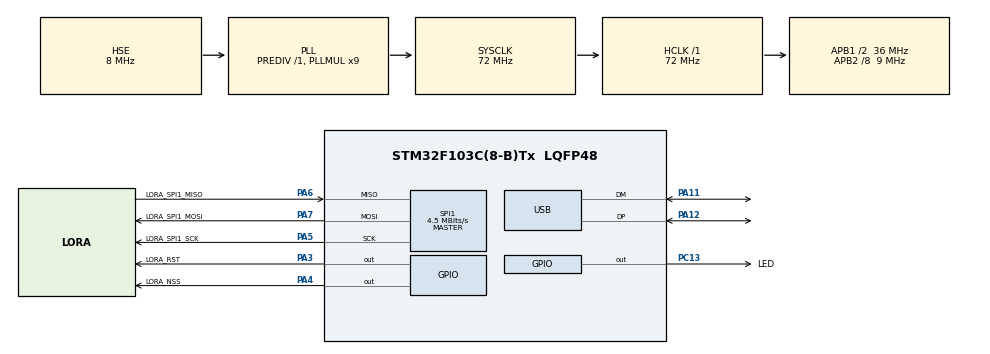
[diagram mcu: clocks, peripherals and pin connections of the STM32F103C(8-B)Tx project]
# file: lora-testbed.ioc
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Mcu.Family=STM32F1
Mcu.Name=STM32F103C(8-B)Tx
Mcu.Package=LQFP48
NVIC.PriorityGroup=NVIC_PRIORITYGROUP_4
NVIC.USB_LP_CAN1_RX0_IRQn=true\:0\:0\:false\:false\:true\:false\:true\:true
PA11.Mode=Device
PA11.Signal=USB_DM
PA12.Mode=Device
PA12.Signal=USB_DP
PA13.Mode=Serial_Wire
PA13.Signal=SYS_JTMS-SWDIO
PA14.Mode=Serial_Wire
PA14.Signal=SYS_JTCK-SWCLK
PA3.GPIO_Label=LORA_RST
PA3.Signal=GPIO_Output
PA4.GPIO_Label=LORA_NSS
PA4.Signal=GPIO_Output
PA5.GPIO_Label=LORA_SPI1_SCK
PA5.Mode=Full_Duplex_Master
PA5.Signal=SPI1_SCK
PA6.GPIO_Label=LORA_SPI1_MISO
PA6.Mode=Full_Duplex_Master
PA6.Signal=SPI1_MISO
PA7.GPIO_Label=LORA_SPI1_MOSI
PA7.Mode=Full_Duplex_Master
PA7.Signal=SPI1_MOSI
PC13-TAMPER-RTC.GPIO_Label=LED
PC13-TAMPER-RTC.Signal=GPIO_Output
PD0-OSC_IN.Mode=HSE-External-Oscillator
PD0-OSC_IN.Signal=RCC_OSC_IN
PD1-OSC_OUT.Mode=HSE-External-Oscillator
PD1-OSC_OUT.Signal=RCC_OSC_OUT
ProjectManager.HeapSize=0x200
ProjectManager.StackSize=0x400
ProjectManager.TargetToolchain=Makefile
RCC.AHBFreq_Value=72000000
RCC.APB1CLKDivider=RCC_HCLK_DIV2
RCC.APB1Freq_Value=36000000
RCC.APB1TimFreq_Value=72000000
RCC.APB2CLKDivider=RCC_HCLK_DIV8
RCC.APB2Freq_Value=9000000
RCC.APB2TimFreq_Value=18000000
RCC.HCLKFreq_Value=72000000
RCC.PLLMUL=RCC_PLL_MUL9
RCC.SYSCLKFreq_VALUE=72000000
RCC.SYSCLKSource=RCC_SYSCLKSOURCE_PLLCLK
RCC.USBFreq_Value=48000000
RCC.USBPrescaler=RCC_USBCLKSOURCE_PLL_DIV1_5
SPI1.BaudRatePrescaler=SPI_BAUDRATEPRESCALER_2
SPI1.CalculateBaudRate=4.5 MBits/s
SPI1.Direction=SPI_DIRECTION_2LINES
SPI1.Mode=SPI_MODE_MASTER
SPI1.VirtualType=VM_MASTER
USB_DEVICE.CLASS_NAME_FS=CDC
USB_DEVICE.VirtualMode=Cdc
USB_DEVICE.VirtualModeFS=Cdc_FS
VP_USB_DEVICE_VS_USB_DEVICE_CDC_FS.Mode=CDC_FS
board=custom

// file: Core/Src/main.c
/* USER CODE BEGIN Header */
/**
  ******************************************************************************
  * @file           : main.c
  * @brief          : Main program body
  ******************************************************************************
  * @attention
  *
  * Copyright (c) 2025 STMicroelectronics.
  * All rights reserved.
  *
  * This software is licensed under terms that can be found in the LICENSE file
  * in the root directory of this software component.
  * If no LICENSE file comes with this software, it is provided AS-IS.
  *
  ******************************************************************************
  */
/* USER CODE END Header */
#include "main.h"
#include "usb_device.h"
#include <stdlib.h>
#include <string.h>

/* USER CODE BEGIN Includes */
#include "usbd_cdc_if.h"
#include "usbd_core.h"
#include "lora.h"
#include "telemetry.h"
#include "error_sdr.h"
#include "usb.h"
#include "usb_cdc_app.h"
/* USER CODE END Includes */

SPI_HandleTypeDef hspi1;

/* USER CODE BEGIN PV */
/* USB data buffer */
uint8_t usb_tx_byte[ USB_BUF_SIZE ];
uint8_t usb_rx_byte[ USB_BUF_SIZE ];

/* LoRa global receive buffer */
LORA_STATUS lora_status;
TELEMETRY_MESSAGE last_lora_message;
bool start_lora = false;
uint32_t sequence_number = 0;

/* LoRa config settings */
LORA_PRESET lora_preset;

/* USER CODE END PV */

void SystemClock_Config(void);
static void MX_GPIO_Init(void);
static void MX_SPI1_Init(void);

/* USER CODE BEGIN 0 */

typedef enum
{
    USB_RX_MODE_IDLE = 0,
    USB_RX_MODE_BLOCKING,
    USB_RX_MODE_INTERRUPT
} usb_rx_mode_t;

static volatile usb_rx_mode_t s_rx_mode = USB_RX_MODE_IDLE;
static uint8_t *s_rx_buf = NULL;
static volatile size_t s_rx_have = 0U;
static size_t s_rx_goal = 0U;
static uint8_t s_rx_stash[CDC_DATA_FS_MAX_PACKET_SIZE];
static volatile size_t s_rx_stash_len = 0U;

static void *s_tx_it_data = NULL;
static size_t s_tx_it_len = 0U;
static volatile bool s_usb_recover_requested = false;
static uint32_t s_usb_last_recover_tick = 0U;
static uint8_t s_usb_tx_fail_count = 0U;

#define USB_RECOVER_COOLDOWN_MS   (250U)
#define USB_TX_FAILS_BEFORE_RESET (3U)

extern USBD_HandleTypeDef hUsbDeviceFS;

static void usb_request_recovery( void )
{
    s_usb_recover_requested = true;
}

static void usb_service_recovery( void )
{
    if ( s_usb_recover_requested == false )
        {
        return;
        }

    uint32_t now = HAL_GetTick();
    if ( ( now - s_usb_last_recover_tick ) < USB_RECOVER_COOLDOWN_MS )
        {
        return;
        }

    s_usb_recover_requested = false;
    s_usb_last_recover_tick = now;
    s_usb_tx_fail_count = 0U;

    (void)USBD_Stop( &hUsbDeviceFS );
    (void)USBD_DeInit( &hUsbDeviceFS );
    MX_USB_DEVICE_Init();

    __disable_irq();
    s_rx_mode = USB_RX_MODE_IDLE;
    s_rx_buf = NULL;
    s_rx_have = 0U;
    s_rx_goal = 0U;
    s_rx_stash_len = 0U;
    __enable_irq();

    (void)usb_receive_IT( usb_rx_byte, 1 );
}

__attribute__( ( weak ) ) void usb_receive_complete_callback( void *data, size_t len )
{
    (void)data;
    (void)len;

    terminal_loop();
}

__attribute__( ( weak ) ) void usb_transmit_complete_callback( void *data, size_t len )
{
    (void)data;
    (void)len;

    usb_receive_IT( usb_rx_byte, 1 );
}

static void usb_rx_drain_stash_locked( void )
{
    while ( s_rx_stash_len > 0U && s_rx_mode != USB_RX_MODE_IDLE && s_rx_buf != NULL && s_rx_have < s_rx_goal )
        {
        size_t need = s_rx_goal - s_rx_have;
        size_t take = ( s_rx_stash_len < need ) ? s_rx_stash_len : need;
        memcpy( s_rx_buf + s_rx_have, s_rx_stash, take );
        s_rx_have += take;
        size_t rem = s_rx_stash_len - take;
        if ( rem > 0U )
            {
            memmove( s_rx_stash, s_rx_stash + take, rem );
            }
        s_rx_stash_len = rem;
        }
}

void usb_process_cdc_rx( uint8_t *buf, uint32_t len )
{
    if ( len == 0U )
        {
        return;
        }

    if ( s_rx_mode == USB_RX_MODE_IDLE )
        {
        if ( s_rx_stash_len + len > sizeof( s_rx_stash ) )
            {
            return;
            }
        memcpy( s_rx_stash + s_rx_stash_len, buf, len );
        s_rx_stash_len += len;
        return;
        }

    uint32_t pos = 0U;
    while ( pos < len && s_rx_have < s_rx_goal )
        {
        size_t need = s_rx_goal - s_rx_have;
        uint32_t avail = len - pos;
        size_t chunk = ( avail < need ) ? (size_t)avail : need;
        memcpy( s_rx_buf + s_rx_have, buf + pos, chunk );
        s_rx_have += chunk;
        pos += chunk;
        }

    if ( pos < len )
        {
        uint32_t left = len - pos;
        if ( s_rx_stash_len + left > sizeof( s_rx_stash ) )
            {
            return;
            }
        memcpy( s_rx_stash + s_rx_stash_len, buf + pos, left );
        s_rx_stash_len += left;
        }

    if ( s_rx_have >= s_rx_goal && s_rx_mode == USB_RX_MODE_INTERRUPT )
        {
        s_rx_mode = USB_RX_MODE_IDLE;
        void *cbdata = s_rx_buf;
        size_t cblen = s_rx_goal;
        s_rx_buf = NULL;
        usb_receive_complete_callback( cbdata, cblen );
        }
}

void USBD_App_CDC_TxComplete( void )
{
    usb_transmit_complete_callback( s_tx_it_data, s_tx_it_len );
}

USB_STATUS usb_receive_IT( void *data, size_t len )
{
    if ( data == NULL || len == 0U )
        {
        return USB_FAIL;
        }

    __disable_irq();
    if ( s_rx_mode != USB_RX_MODE_IDLE )
        {
        __enable_irq();
        return USB_FAIL;
        }

    s_rx_buf = (uint8_t *)data;
    s_rx_goal = len;
    s_rx_have = 0U;
    s_rx_mode = USB_RX_MODE_INTERRUPT;
    usb_rx_drain_stash_locked();

    if ( s_rx_have >= s_rx_goal )
        {
        s_rx_mode = USB_RX_MODE_IDLE;
        void *p = s_rx_buf;
        size_t n = s_rx_goal;
        s_rx_buf = NULL;
        __enable_irq();
        usb_receive_complete_callback( p, n );
        return USB_OK;
        }

    __enable_irq();
    return USB_OK;
}

USB_STATUS usb_receive( void *data, size_t len, uint32_t timeout )
{
    if ( data == NULL || len == 0U )
        {
        return USB_FAIL;
        }

    __disable_irq();
    if ( s_rx_mode != USB_RX_MODE_IDLE )
        {
        __enable_irq();
        return USB_FAIL;
        }

    s_rx_buf = (uint8_t *)data;
    s_rx_goal = len;
    s_rx_have = 0U;
    s_rx_mode = USB_RX_MODE_BLOCKING;
    usb_rx_drain_stash_locked();
    __enable_irq();

    if ( s_rx_have >= s_rx_goal )
        {
        __disable_irq();
        s_rx_mode = USB_RX_MODE_IDLE;
        s_rx_buf = NULL;
        __enable_irq();
        return USB_OK;
        }

    uint32_t tickstart = HAL_GetTick();
    while ( s_rx_have < s_rx_goal )
        {
        if ( timeout != HAL_MAX_DELAY && ( HAL_GetTick() - tickstart ) >= timeout )
            {
            __disable_irq();
            s_rx_mode = USB_RX_MODE_IDLE;
            s_rx_buf = NULL;
            __enable_irq();
            return USB_TIMEOUT;
            }
        }

    __disable_irq();
    s_rx_mode = USB_RX_MODE_IDLE;
    s_rx_buf = NULL;
    __enable_irq();
    return USB_OK;
}

USB_STATUS usb_transmit( void *data, size_t len, uint32_t timeout )
{
    uint32_t timeout_start = HAL_GetTick();
    uint8_t tx_status = CDC_Transmit_FS( (uint8_t *)data, (uint16_t)len );
    while ( tx_status == USBD_BUSY && ( HAL_GetTick() - timeout_start ) < timeout )
        {
        tx_status = CDC_Transmit_FS( (uint8_t *)data, (uint16_t)len );
        }

    if ( tx_status == USBD_OK )
        {
        s_usb_tx_fail_count = 0U;
        return USB_OK;
        }

    if ( ++s_usb_tx_fail_count >= USB_TX_FAILS_BEFORE_RESET )
        {
        usb_request_recovery();
        }
    return ( tx_status == USBD_BUSY ) ? USB_TIMEOUT : USB_FAIL;
}

USB_STATUS usb_transmit_IT( void *data, size_t len )
{
    uint8_t st = CDC_Transmit_FS( (uint8_t *)data, (uint16_t)len );
    if ( st == USBD_BUSY )
        {
        if ( ++s_usb_tx_fail_count >= USB_TX_FAILS_BEFORE_RESET )
            {
            usb_request_recovery();
            }
        return USB_FAIL;
        }
    if ( st != USBD_OK )
        {
        if ( ++s_usb_tx_fail_count >= USB_TX_FAILS_BEFORE_RESET )
            {
            usb_request_recovery();
            }
        return USB_FAIL;
        }
    s_usb_tx_fail_count = 0U;
    s_tx_it_data = data;
    s_tx_it_len = len;
    return USB_OK;
}

/* USER CODE END 0 */

int main(void)
{

  /* MCU Configuration--------------------------------------------------------*/

  /* Reset of all peripherals, Initializes the Flash interface and the Systick. */
  HAL_Init();

  /* Configure the system clock */
  SystemClock_Config();

  /* Initialize all configured peripherals */
  MX_GPIO_Init();
  MX_SPI1_Init();
  MX_USB_DEVICE_Init();
  /* USER CODE BEGIN 2 */

  // NOTE: INITIALIZE DRIVERS SETUPS HERE
  LORA_PRESET preset = {
    LORA_SPREAD_8, /* SF 6 - 12 supported. Validate the range. */
    LORA_BANDWIDTH_250_KHZ, /* enum -- spec defined in LORA_BANDWIDTH. Packed to one byte. */
    6, /* error coding options are 4:5, 4:6, 4:7, and 4:8 */
    0, /* true: +20 dBm boost */
    915000 /* frequency in kHz */
    /* omitted: chipmode, header mode (defined by fw) */
    };
  LORA_STATUS lora_init_status = lora_configure(&preset); /* use a nullptr so we use dflt cfgs */

if( lora_init_status == LORA_USING_DEFAULTS )
    {
    /* give an indicator of default configs*/
    for( int i = 0; i < 4; i++ )
        {
        HAL_GPIO_WritePin(LED_GPIO_Port, LED_Pin, 1);
        HAL_Delay(200);
        HAL_GPIO_WritePin(LED_GPIO_Port, LED_Pin, 0);
        HAL_Delay(200);
        }
    }
else if( lora_init_status != LORA_OK )
    {
    error_fail_fast( ERROR_LORA_INIT_ERROR );
    }

/* Initialize LoRa buffer */
memset(&last_lora_message, 0, TELEMETRY_MESSAGE_SIZE);

/* start terminal loop */
usb_receive_IT( usb_rx_byte, 1 );

/* Terminal Mode */
HAL_GPIO_WritePin(LED_GPIO_Port, LED_Pin, 1);

static const TELEMETRY_MESSAGE dashboard_dump_msg =
    {
    .header =
        {
        .mid       = TELEMETRY_MSG_DASHBOARD_DATA,
        .timestamp = 0x00000000UL
        },
    .payload.dashboard_dump =
        {
        .fsm_state = 0x00,
        .data =
            {
            .attitude =
                {
                .w = 0.0f,
                .x = 0.0f,
                .y = 0.0f,
                .z = 1.0f
                },
            .alt = 0.0f,
            .latitude = 0.0f,
            .longitude = 0.0f,
            .acc_x = 0.0f,
            .roll_rate = 0.0f
            },
        .explicit_padding = { 0x00, 0x00, 0x00 }
        }
    };

  /* USER CODE END 2 */

  /* Infinite loop */
  /* USER CODE BEGIN WHILE */
  /*------------------------------------------------------------------------------
  Event Loop
  ------------------------------------------------------------------------------*/
  lora_status = lora_set_chip_mode( LORA_RX_CONTINUOUS_MODE );
  while (1)
    {
      /* USER CODE END WHILE */
      /* USER CODE BEGIN 3 */
      usb_service_recovery();

      if( lora_receive_ready() == LORA_READY )
        {
        HAL_GPIO_WritePin(LED_GPIO_Port, LED_Pin, 0);
        uint8_t rx_buf[TELEMETRY_MESSAGE_SIZE];
        uint8_t rx_size = 0;
	    lora_status = lora_receive(rx_buf, TELEMETRY_MESSAGE_SIZE, &rx_size);

        if( lora_status == LORA_OK && rx_size == TELEMETRY_MESSAGE_SIZE )
            {
            memcpy( &last_lora_message, rx_buf, TELEMETRY_MESSAGE_SIZE );
            }
        sequence_number++;
        HAL_GPIO_WritePin(LED_GPIO_Port, LED_Pin, 1);
        }
    }
  /* USER CODE END 3 */
}

void SystemClock_Config(void)
{
  RCC_OscInitTypeDef RCC_OscInitStruct = {0};
  RCC_ClkInitTypeDef RCC_ClkInitStruct = {0};
  RCC_PeriphCLKInitTypeDef PeriphClkInit = {0};

  /** Initializes the RCC Oscillators according to the specified parameters
  * in the RCC_OscInitTypeDef structure.
  */
  RCC_OscInitStruct.OscillatorType = RCC_OSCILLATORTYPE_HSE;
  RCC_OscInitStruct.HSEState = RCC_HSE_ON;
  RCC_OscInitStruct.HSEPredivValue = RCC_HSE_PREDIV_DIV1;
  RCC_OscInitStruct.HSIState = RCC_HSI_ON;
  RCC_OscInitStruct.PLL.PLLState = RCC_PLL_ON;
  RCC_OscInitStruct.PLL.PLLSource = RCC_PLLSOURCE_HSE;
  RCC_OscInitStruct.PLL.PLLMUL = RCC_PLL_MUL9;
  if (HAL_RCC_OscConfig(&RCC_OscInitStruct) != HAL_OK)
  {
    Error_Handler();
  }

  /** Initializes the CPU, AHB and APB buses clocks
  */
  RCC_ClkInitStruct.ClockType = RCC_CLOCKTYPE_HCLK|RCC_CLOCKTYPE_SYSCLK
                              |RCC_CLOCKTYPE_PCLK1|RCC_CLOCKTYPE_PCLK2;
  RCC_ClkInitStruct.SYSCLKSource = RCC_SYSCLKSOURCE_PLLCLK;
  RCC_ClkInitStruct.AHBCLKDivider = RCC_SYSCLK_DIV1;
  RCC_ClkInitStruct.APB1CLKDivider = RCC_HCLK_DIV2;
  RCC_ClkInitStruct.APB2CLKDivider = RCC_HCLK_DIV8;

  if (HAL_RCC_ClockConfig(&RCC_ClkInitStruct, FLASH_LATENCY_2) != HAL_OK)
  {
    Error_Handler();
  }
  PeriphClkInit.PeriphClockSelection = RCC_PERIPHCLK_USB;
  PeriphClkInit.UsbClockSelection = RCC_USBCLKSOURCE_PLL_DIV1_5;
  if (HAL_RCCEx_PeriphCLKConfig(&PeriphClkInit) != HAL_OK)
  {
    Error_Handler();
  }
}

static void MX_SPI1_Init(void)
{

  /* SPI1 parameter configuration*/
  hspi1.Instance = SPI1;
  hspi1.Init.Mode = SPI_MODE_MASTER;
  hspi1.Init.Direction = SPI_DIRECTION_2LINES;
  hspi1.Init.DataSize = SPI_DATASIZE_8BIT;
  hspi1.Init.CLKPolarity = SPI_POLARITY_LOW;
  hspi1.Init.CLKPhase = SPI_PHASE_1EDGE;
  hspi1.Init.NSS = SPI_NSS_SOFT;
  hspi1.Init.BaudRatePrescaler = SPI_BAUDRATEPRESCALER_2;
  hspi1.Init.FirstBit = SPI_FIRSTBIT_MSB;
  hspi1.Init.TIMode = SPI_TIMODE_DISABLE;
  hspi1.Init.CRCCalculation = SPI_CRCCALCULATION_DISABLE;
  hspi1.Init.CRCPolynomial = 10;
  if (HAL_SPI_Init(&hspi1) != HAL_OK)
  {
    Error_Handler();
  }

}

static void MX_GPIO_Init(void)
{
  GPIO_InitTypeDef GPIO_InitStruct = {0};

  /* GPIO Ports Clock Enable */
  __HAL_RCC_GPIOC_CLK_ENABLE();
  __HAL_RCC_GPIOD_CLK_ENABLE();
  __HAL_RCC_GPIOA_CLK_ENABLE();

  /*Configure GPIO pin Output Level */
  HAL_GPIO_WritePin(LED_GPIO_Port, LED_Pin, GPIO_PIN_RESET);

  /*Configure GPIO pin Output Level */
  HAL_GPIO_WritePin(GPIOA, LORA_RST_Pin|LORA_NSS_Pin, GPIO_PIN_RESET);

  /*Configure GPIO pin : LED_Pin */
  GPIO_InitStruct.Pin = LED_Pin;
  GPIO_InitStruct.Mode = GPIO_MODE_OUTPUT_PP;
  GPIO_InitStruct.Pull = GPIO_NOPULL;
  GPIO_InitStruct.Speed = GPIO_SPEED_FREQ_LOW;
  HAL_GPIO_Init(LED_GPIO_Port, &GPIO_InitStruct);

  /*Configure GPIO pins : LORA_RST_Pin LORA_NSS_Pin */
  GPIO_InitStruct.Pin = LORA_RST_Pin|LORA_NSS_Pin;
  GPIO_InitStruct.Mode = GPIO_MODE_OUTPUT_PP;
  GPIO_InitStruct.Pull = GPIO_NOPULL;
  GPIO_InitStruct.Speed = GPIO_SPEED_FREQ_LOW;
  HAL_GPIO_Init(GPIOA, &GPIO_InitStruct);

}

void Error_Handler(void)
{
  /* USER CODE BEGIN Error_Handler_Debug */
  /* User can add his own implementation to report the HAL error return state */
  __disable_irq();
  error_fail_fast( ERROR_UNKNOWN_FATAL_ERROR );
  /* USER CODE END Error_Handler_Debug */
}
